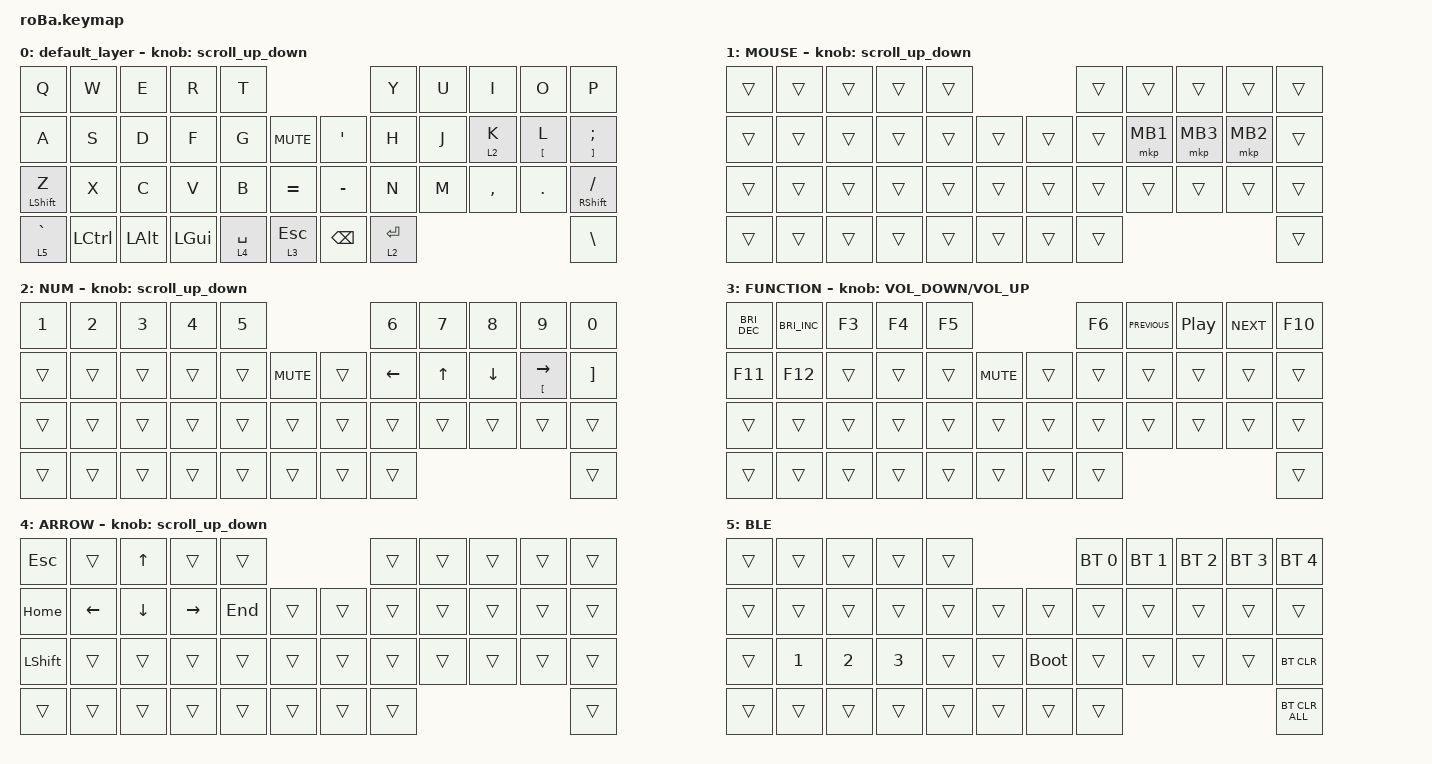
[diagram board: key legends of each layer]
#include <behaviors.dtsi>
#include <dt-bindings/zmk/bt.h>
#include <dt-bindings/zmk/keys.h>
#include <dt-bindings/zmk/pointing.h>

#define ZMK_POINTING_DEFAULT_SCRL_VAL 100

&mt {
    flavor = "balanced";
    quick-tap-ms = <180>;
    tapping-term-ms = <180>;
};

&trackball {
    automouse-layer = <1>;
    scroll-layers = <2>;

    // arrows {
    //     layers = <3>;
    //     bindings =
    //         <&kp RIGHT_ARROW>,
    //         <&kp LEFT_ARROW>,
    //         <&kp UP_ARROW>,
    //         <&kp DOWN_ARROW>;
    //     tick = <10>;
    //     wait-ms = <5>;
    //     tap-ms = <5>;
    // };
};

/ {
    combos {
        compatible = "zmk,combos";

        tab {
            bindings = <&kp TAB>;
            key-positions = <11 12>;
        };

        esc {
            bindings = <&kp ESC>;
            key-positions = <0 1>;
        };

        previous {
            bindings = <&kp LG(LEFT_BRACKET)>;
            key-positions = <19 20>;
        };

        next {
            bindings = <&kp LG(RIGHT_BRACKET)>;
            key-positions = <20 21>;
        };

        caps {
            bindings = <&kp CAPSLOCK>;
            key-positions = <10 11>;
        };
    };

    macros {
        to_layer_0: to_layer_0 {
            compatible = "zmk,behavior-macro-one-param";
            #binding-cells = <1>;
            bindings = <&to 0 &macro_param_1to1 &kp MACRO_PLACEHOLDER>;
            label = "TO_LAYER_0";
        };
    };

    behaviors {
        lt_to_layer_0: lt_to_layer_0 {
            compatible = "zmk,behavior-hold-tap";
            label = "LAYER_TAP_TO_0";
            bindings = <&mo>, <&to_layer_0>;

            #binding-cells = <2>;
            tapping-term-ms = <200>;
        };

        scroll_up_down: behavior_sensor_rotate_mouse_wheel_up_down {
            compatible = "zmk,behavior-sensor-rotate";
            #sensor-binding-cells = <0>;
            bindings = <&msc SCRL_DOWN>, <&msc SCRL_UP>;

            tap-ms = <20>;
        };
    };

    keymap {
        compatible = "zmk,keymap";

        default_layer {
            bindings = <
&kp Q             &kp W             &kp E         &kp R         &kp T                                          &kp Y        &kp U  &kp I      &kp O               &kp P
&kp A             &kp S             &kp D         &kp F         &kp G        &kp C_MUTE      &kp SINGLE_QUOTE  &kp H        &kp J  &lt 2 K    &mt LEFT_BRACKET L  &mt RIGHT_BRACKET SEMICOLON
&mt LEFT_SHIFT Z  &kp X             &kp C         &kp V         &kp B        &kp EQUAL       &kp MINUS         &kp N        &kp M  &kp COMMA  &kp DOT             &mt RIGHT_SHIFT SLASH
&lt 5 GRAVE       &kp LEFT_CONTROL  &kp LEFT_ALT  &kp LEFT_GUI  &lt 4 SPACE  &lt 3 ESC       &kp BACKSPACE     &lt 2 ENTER                                        &kp BACKSLASH
            >;

            sensor-bindings = <&scroll_up_down>;
        };

        MOUSE {
            bindings = <
&trans  &trans  &trans  &trans  &trans                      &trans  &trans    &trans    &trans    &trans
&trans  &trans  &trans  &trans  &trans  &trans      &trans  &trans  &mkp MB1  &mkp MB3  &mkp MB2  &trans
&trans  &trans  &trans  &trans  &trans  &trans      &trans  &trans  &trans    &trans    &trans    &trans
&trans  &trans  &trans  &trans  &trans  &trans      &trans  &trans                                &trans
            >;

            sensor-bindings = <&scroll_up_down>;
        };

        NUM {
            bindings = <
&kp NUMBER_1  &kp NUMBER_2  &kp NUMBER_3  &kp NUMBER_4  &kp NUMBER_5                          &kp NUMBER_6    &kp NUMBER_7  &kp NUMBER_8  &kp NUMBER_9            &kp NUMBER_0
&trans        &trans        &trans        &trans        &trans        &kp C_MUTE      &trans  &kp LEFT_ARROW  &kp UP        &kp DOWN      &mt LEFT_BRACKET RIGHT  &kp RIGHT_BRACKET
&trans        &trans        &trans        &trans        &trans        &trans          &trans  &trans          &trans        &trans        &trans                  &trans
&trans        &trans        &trans        &trans        &trans        &trans          &trans  &trans                                                              &trans
            >;

            sensor-bindings = <&scroll_up_down>;
        };

        FUNCTION {
            bindings = <
&kp C_BRIGHTNESS_DEC  &kp C_BRIGHTNESS_INC  &kp F3  &kp F4  &kp F5                          &kp F6  &kp C_PREVIOUS  &kp C_PLAY_PAUSE  &kp C_NEXT  &kp F10
&kp F11               &kp F12               &trans  &trans  &trans  &kp C_MUTE      &trans  &trans  &trans          &trans            &trans      &trans
&trans                &trans                &trans  &trans  &trans  &trans          &trans  &trans  &trans          &trans            &trans      &trans
&trans                &trans                &trans  &trans  &trans  &trans          &trans  &trans                                                &trans
            >;

            sensor-bindings = <&inc_dec_kp C_VOLUME_DOWN C_VOLUME_UP>;
        };

        ARROW {
            bindings = <
&kp ESCAPE      &trans          &kp UP_ARROW    &trans           &trans                       &trans  &trans  &trans  &trans  &trans
&kp HOME        &kp LEFT_ARROW  &kp DOWN_ARROW  &kp RIGHT_ARROW  &kp END  &trans      &trans  &trans  &trans  &trans  &trans  &trans
&kp LEFT_SHIFT  &trans          &trans          &trans           &trans   &trans      &trans  &trans  &trans  &trans  &trans  &trans
&trans          &trans          &trans          &trans           &trans   &trans      &trans  &trans                          &trans
            >;

            sensor-bindings = <&scroll_up_down>;
        };

        BLE {
            bindings = <
&trans  &trans        &trans        &trans        &trans                           &bt BT_SEL 0  &bt BT_SEL 1  &bt BT_SEL 2  &bt BT_SEL 3  &bt BT_SEL 4
&trans  &trans        &trans        &trans        &trans  &trans      &trans       &trans        &trans        &trans        &trans        &trans
&trans  &kp NUMBER_1  &kp NUMBER_2  &kp NUMBER_3  &trans  &trans      &bootloader  &trans        &trans        &trans        &trans        &bt BT_CLR
&trans  &trans        &trans        &trans        &trans  &trans      &trans       &trans                                                  &bt BT_CLR_ALL
            >;
        };
    };
};
